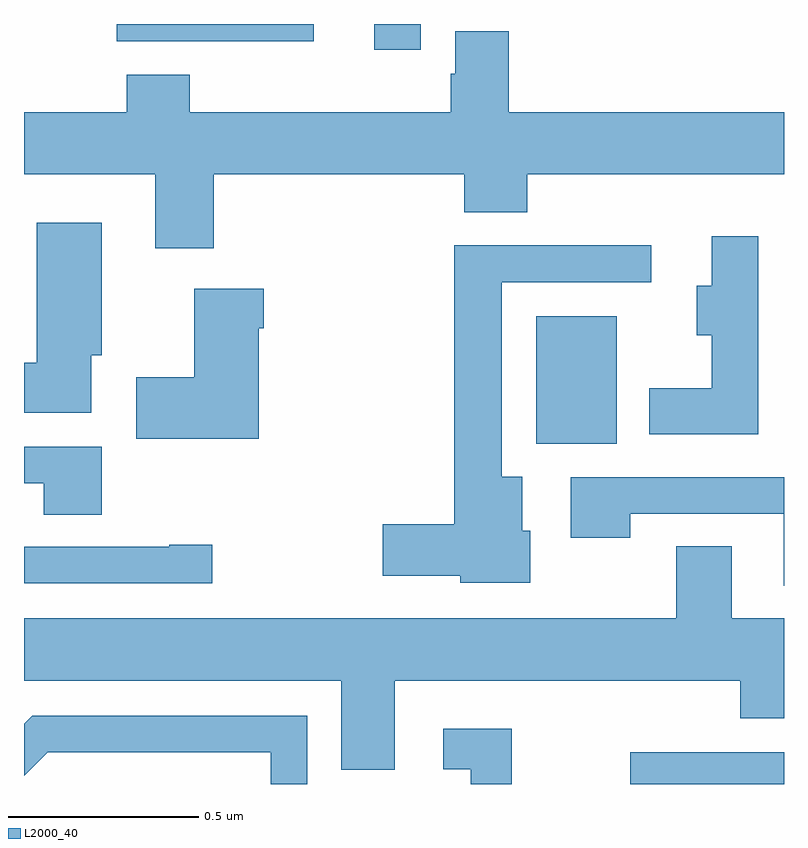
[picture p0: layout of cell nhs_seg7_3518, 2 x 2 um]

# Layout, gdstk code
import gdstk
lib = gdstk.Library(unit=1e-6, precision=1e-09)
def R(c, l, rs):  # rectangles x0, y0, x1, y1
    for r in rs: c.add(gdstk.rectangle(r[:2], r[2:], *l))
def P(c, l, *ps):  # polygons
    for p in ps: c.add(gdstk.Polygon(p, *l))
L2000_40 = (2000, 40)

nhs_seg7_3518 = lib.new_cell('nhs_seg7_3518')
R(nhs_seg7_3518, L2000_40, [(161.595,1011,162,1011.084), (161.348,1011.896,161.56,1012.231), (160.922,1012.932,161.044,1013), (160.244,1012.955,160.762,1013)])
P(nhs_seg7_3518, L2000_40, [(161.159,1012.505),(161.324,1012.505),(161.324,1012.604),(162,1012.604),(162,1012.768),(161.276,1012.768),(161.276,1012.981),(161.135,1012.981),(161.135,1012.869),(161.123,1012.869),(161.123,1012.768),(160.436,1012.768),(160.436,1012.867),(160.271,1012.867),(160.271,1012.768),(160,1012.768),(160,1012.604),(160.346,1012.604),(160.346,1012.41),(160.499,1012.41),(160.499,1012.604),(161.159,1012.604)],
  [(160.177,1012.128),(160.204,1012.128),(160.204,1012.477),(160.034,1012.477),(160.034,1012.108),(160,1012.108),(160,1011.977),(160.177,1011.977)],
  [(161.932,1012.441),(161.81,1012.441),(161.81,1012.311),(161.771,1012.311),(161.771,1012.181),(161.81,1012.181),(161.81,1012.042),(161.645,1012.042),(161.645,1011.92),(161.932,1011.92)],
  [(161.332,1011.666),(161.311,1011.666),(161.311,1011.808),(161.257,1011.808),(161.257,1012.32),(161.65,1012.32),(161.65,1012.418),(161.132,1012.418),(161.132,1011.683),(160.944,1011.683),(160.944,1011.548),(161.148,1011.548),(161.148,1011.53),(161.332,1011.53)],
  [(160.618,1012.199),(160.631,1012.199),(160.631,1012.303),(160.448,1012.303),(160.448,1012.071),(160.296,1012.071),(160.296,1011.908),(160.618,1011.908)],
  [(160.205,1011.888),(160,1011.888),(160,1011.792),(160.052,1011.792),(160.052,1011.709),(160.205,1011.709)],
  [(162,1011.807),(161.439,1011.807),(161.439,1011.648),(161.595,1011.648),(161.595,1011.711),(161.999,1011.711),(161.999,1011.522),(162,1011.522)],
  [(160.495,1011.629),(160.382,1011.629),(160.382,1011.624),(160,1011.624),(160,1011.528),(160.495,1011.528)],
  [(160.975,1011.272),(161.885,1011.272),(161.885,1011.173),(162,1011.173),(162,1011.436),(161.863,1011.436),(161.863,1011.626),(161.716,1011.626),(161.716,1011.436),(160,1011.436),(160,1011.272),(160.835,1011.272),(160.835,1011.037),(160.975,1011.037)],
  [(160.746,1011.18),(160.022,1011.18),(160,1011.158),(160,1011.022),(160.062,1011.084),(160.649,1011.084),(160.649,1011),(160.746,1011)],
  [(161.284,1011.145),(161.103,1011.145),(161.103,1011.039),(161.175,1011.039),(161.175,1011),(161.284,1011)])

lib.write_gds('nhs_seg7_3518.gds')
